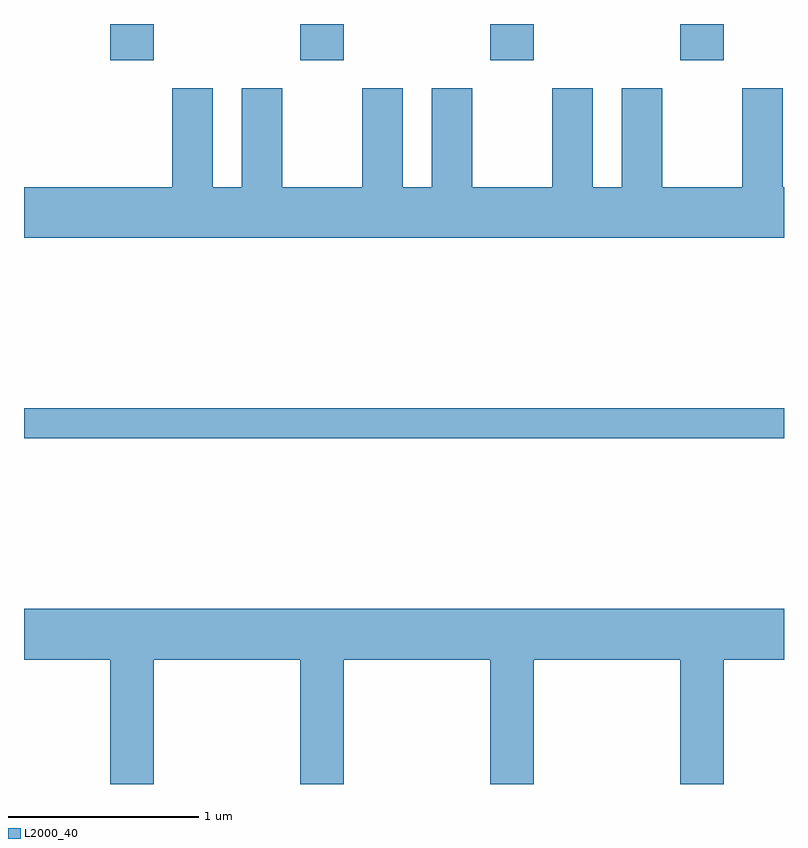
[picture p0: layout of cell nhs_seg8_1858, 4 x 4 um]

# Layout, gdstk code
import gdstk
lib = gdstk.Library(unit=1e-6, precision=1e-09)
def R(c, l, rs):  # rectangles x0, y0, x1, y1
    for r in rs: c.add(gdstk.rectangle(r[:2], r[2:], *l))
def A(c, l, x, y, w, h, nx, ny, dx, dy):  # array of equal rectangles
    R(c, l, [(x+i*dx, y+j*dy, x+i*dx+w, y+j*dy+h) for i in range(nx) for j in range(ny)])
def P(c, l, *ps):  # polygons
    for p in ps: c.add(gdstk.Polygon(p, *l))
L2000_40 = (2000, 40)

nhs_seg8_1858 = lib.new_cell('nhs_seg8_1858')
A(nhs_seg8_1858, L2000_40, 240.066, 1926.151, 0.228, 0.191, 4, 1, 1, 0)
R(nhs_seg8_1858, L2000_40, [(239.611,1924.161,243.611,1924.319)])
P(nhs_seg8_1858, L2000_40, [(243.611,1925.484),(243.604,1925.484),(243.604,1926.004),(243.391,1926.004),(243.391,1925.484),(242.969,1925.484),(242.969,1926.004),(242.756,1926.004),(242.756,1925.484),(242.604,1925.484),(242.604,1926.004),(242.391,1926.004),(242.391,1925.484),(241.969,1925.484),(241.969,1926.004),(241.756,1926.004),(241.756,1925.484),(241.604,1925.484),(241.604,1926.004),(241.391,1926.004),(241.391,1925.484),(240.969,1925.484),(240.969,1926.004),(240.756,1926.004),(240.756,1925.484),(240.604,1925.484),(240.604,1926.004),(240.391,1926.004),(240.391,1925.484),(239.611,1925.484),(239.611,1925.216),(243.611,1925.216)],
  [(240.294,1922.996),(241.066,1922.996),(241.066,1922.342),(241.294,1922.342),(241.294,1922.996),(242.066,1922.996),(242.066,1922.342),(242.294,1922.342),(242.294,1922.996),(243.066,1922.996),(243.066,1922.342),(243.294,1922.342),(243.294,1922.996),(243.611,1922.996),(243.611,1923.264),(239.611,1923.264),(239.611,1922.996),(240.066,1922.996),(240.066,1922.342),(240.294,1922.342)])

lib.write_gds('nhs_seg8_1858.gds')
